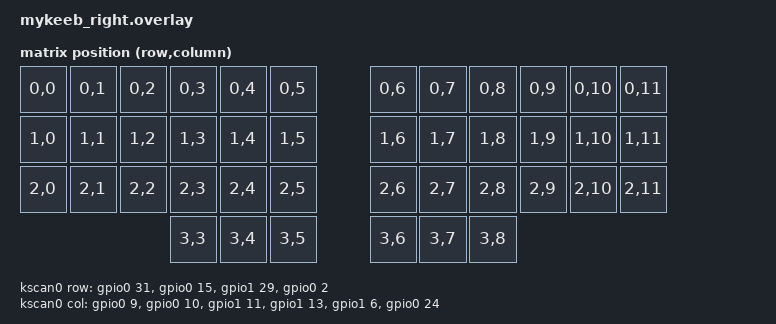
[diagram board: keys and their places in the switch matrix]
#include <dt-bindings/zmk/matrix_transform.h>

/ {
    // This tells ZMK how your 42 keys are arranged across both halves
    default_transform: keymap_transform_0 {
        compatible = "zmk,matrix-transform";
        columns = <12>; 
        rows = <4>;
        
        // The offset belongs here!
        col-offset = <6>; 
             
        map = <
            RC(0,0) RC(0,1) RC(0,2) RC(0,3) RC(0,4) RC(0,5)     RC(0,6) RC(0,7) RC(0,8) RC(0,9) RC(0,10) RC(0,11)
            RC(1,0) RC(1,1) RC(1,2) RC(1,3) RC(1,4) RC(1,5)     RC(1,6) RC(1,7) RC(1,8) RC(1,9) RC(1,10) RC(1,11)
            RC(2,0) RC(2,1) RC(2,2) RC(2,3) RC(2,4) RC(2,5)     RC(2,6) RC(2,7) RC(2,8) RC(2,9) RC(2,10) RC(2,11)
                                    RC(3,3) RC(3,4) RC(3,5)     RC(3,6) RC(3,7) RC(3,8)
        >;
    };

    chosen {
        zmk,kscan = &kscan0;
        zmk,matrix_transform = &default_transform; // Connects the matrix map
    };

    kscan0: kscan_0 {
        compatible = "zmk,kscan-gpio-matrix";
        diode-direction = "col2row";

        // Reversed columns to match your hardware testing
        col-gpios
            = <&gpio0 9  GPIO_ACTIVE_HIGH> 
            , <&gpio0 10 GPIO_ACTIVE_HIGH> 
            , <&gpio1 11 GPIO_ACTIVE_HIGH> 
            , <&gpio1 13 GPIO_ACTIVE_HIGH> 
            , <&gpio1 6  GPIO_ACTIVE_HIGH> 
            , <&gpio0 24 GPIO_ACTIVE_HIGH> // Dummy pin for the 6th column
            ;

        // Corrected rows to match your hardware testing
        row-gpios
            = <&gpio0 31 (GPIO_ACTIVE_HIGH | GPIO_PULL_DOWN)> // Row Top
            , <&gpio0 15  (GPIO_ACTIVE_HIGH | GPIO_PULL_DOWN)> // Row Mid 15
            , <&gpio1 29 (GPIO_ACTIVE_HIGH | GPIO_PULL_DOWN)> // Row Bot 29
            , <&gpio0 2 (GPIO_ACTIVE_HIGH | GPIO_PULL_DOWN)> // Row Thumb 2
            ;
    };
};
